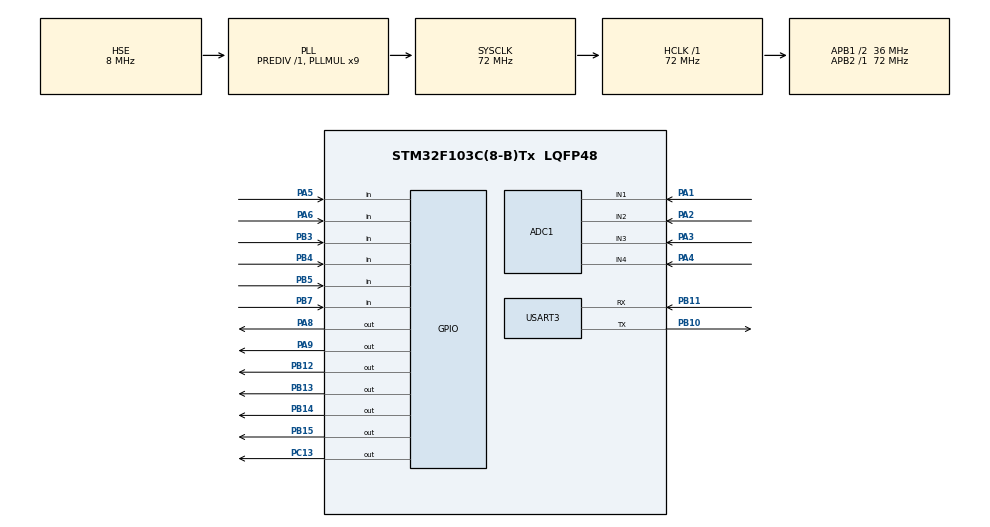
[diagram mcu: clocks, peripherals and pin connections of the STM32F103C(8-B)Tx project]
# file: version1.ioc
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ADC1.Channel-0\#ChannelRegularConversion=ADC_CHANNEL_1
ADC1.Channel-1\#ChannelRegularConversion=ADC_CHANNEL_2
ADC1.Channel-2\#ChannelRegularConversion=ADC_CHANNEL_3
ADC1.Channel-3\#ChannelRegularConversion=ADC_CHANNEL_4
ADC1.ContinuousConvMode=ENABLE
ADC1.NbrOfConversion=4
ADC1.NbrOfConversionFlag=1
ADC1.Rank-0\#ChannelRegularConversion=1
ADC1.Rank-1\#ChannelRegularConversion=2
ADC1.Rank-2\#ChannelRegularConversion=3
ADC1.Rank-3\#ChannelRegularConversion=4
ADC1.SamplingTime-0\#ChannelRegularConversion=ADC_SAMPLETIME_71CYCLES_5
ADC1.SamplingTime-1\#ChannelRegularConversion=ADC_SAMPLETIME_71CYCLES_5
ADC1.SamplingTime-2\#ChannelRegularConversion=ADC_SAMPLETIME_71CYCLES_5
ADC1.SamplingTime-3\#ChannelRegularConversion=ADC_SAMPLETIME_71CYCLES_5
ADC1.master=1
Dma.ADC1.0.Direction=DMA_PERIPH_TO_MEMORY
Dma.ADC1.0.Instance=DMA1_Channel1
Dma.ADC1.0.MemDataAlignment=DMA_MDATAALIGN_WORD
Dma.ADC1.0.MemInc=DMA_MINC_ENABLE
Dma.ADC1.0.Mode=DMA_CIRCULAR
Dma.ADC1.0.PeriphDataAlignment=DMA_PDATAALIGN_WORD
Dma.ADC1.0.PeriphInc=DMA_PINC_DISABLE
Dma.ADC1.0.Priority=DMA_PRIORITY_LOW
Dma.Request0=ADC1
Mcu.Family=STM32F1
Mcu.Name=STM32F103C(8-B)Tx
Mcu.Package=LQFP48
NVIC.DMA1_Channel1_IRQn=true\:0\:0\:false\:false\:true\:false\:true\:true
NVIC.PriorityGroup=NVIC_PRIORITYGROUP_4
PA1.Signal=ADCx_IN1
PA13.Mode=Serial_Wire
PA13.Signal=SYS_JTMS-SWDIO
PA14.Mode=Serial_Wire
PA14.Signal=SYS_JTCK-SWCLK
PA2.Signal=ADCx_IN2
PA3.Signal=ADCx_IN3
PA4.Signal=ADCx_IN4
PA5.GPIO_PuPd=GPIO_PULLUP
PA5.Signal=GPIO_Input
PA6.GPIO_PuPd=GPIO_PULLUP
PA6.Signal=GPIO_Input
PA8.Signal=GPIO_Output
PA9.Signal=GPIO_Output
PB10.Mode=Asynchronous
PB10.Signal=USART3_TX
PB11.Mode=Asynchronous
PB11.Signal=USART3_RX
PB12.Signal=GPIO_Output
PB13.Signal=GPIO_Output
PB14.Signal=GPIO_Output
PB15.Signal=GPIO_Output
PB3.Signal=GPIO_Input
PB4.GPIO_PuPd=GPIO_PULLUP
PB4.Signal=GPIO_Input
PB5.GPIO_PuPd=GPIO_PULLUP
PB5.Signal=GPIO_Input
PB7.Signal=GPIO_Input
PC13-TAMPER-RTC.Signal=GPIO_Output
PD0-OSC_IN.Mode=HSE-External-Oscillator
PD0-OSC_IN.Signal=RCC_OSC_IN
PD1-OSC_OUT.Mode=HSE-External-Oscillator
PD1-OSC_OUT.Signal=RCC_OSC_OUT
ProjectManager.HeapSize=0x200
ProjectManager.StackSize=0x400
ProjectManager.TargetToolchain=MDK-ARM V5.32
RCC.ADCPresc=RCC_ADCPCLK2_DIV6
RCC.AHBFreq_Value=72000000
RCC.APB1CLKDivider=RCC_HCLK_DIV2
RCC.APB1Freq_Value=36000000
RCC.APB1TimFreq_Value=72000000
RCC.APB2Freq_Value=72000000
RCC.APB2TimFreq_Value=72000000
RCC.HCLKFreq_Value=72000000
RCC.PLLMUL=RCC_PLL_MUL9
RCC.PLLSourceVirtual=RCC_PLLSOURCE_HSE
RCC.SYSCLKFreq_VALUE=72000000
RCC.SYSCLKSource=RCC_SYSCLKSOURCE_PLLCLK
RCC.USBFreq_Value=72000000
SH.ADCx_IN1.0=ADC1_IN1,IN1
SH.ADCx_IN2.0=ADC1_IN2,IN2
SH.ADCx_IN3.0=ADC1_IN3,IN3
SH.ADCx_IN4.0=ADC1_IN4,IN4
USART3.VirtualMode=VM_ASYNC
board=custom

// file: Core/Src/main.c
/* USER CODE BEGIN Header */
/**
  ******************************************************************************
  * @file           : main.c
  * @brief          : Main program body
  ******************************************************************************
  * @attention
  *
  * Copyright (c) 2025 STMicroelectronics.
  * All rights reserved.
  *
  * This software is licensed under terms that can be found in the LICENSE file
  * in the root directory of this software component.
  * If no LICENSE file comes with this software, it is provided AS-IS.
  *
  ******************************************************************************
  */
/* USER CODE END Header */
#include "main.h"

/* USER CODE BEGIN Includes */
#include "math.h"
#include "kalman.h"
#include "stdarg.h"
#include "stdio.h"
#include "string.h"
#include <stdlib.h>
/* USER CODE END Includes */

ADC_HandleTypeDef hadc1;
DMA_HandleTypeDef hdma_adc1;

UART_HandleTypeDef huart3;

void SystemClock_Config(void);
static void MX_GPIO_Init(void);
static void MX_DMA_Init(void);
static void MX_ADC1_Init(void);
static void MX_USART3_UART_Init(void);

/* USER CODE BEGIN 0 */

static uint32_t j1, j2, val[4], val_kalman[2];
int8_t btn1, btn2;
static int32_t joystick_angle1, joystick_angle2,x1, x_kalman, y1, y_kalman, x2, y2, angle_kalman;
double M_PI = 3.14159265358979323846;

#define JOYSTICK_CENTER_X 50  // Điều chỉnh theo giá trị thực tế
#define JOYSTICK_CENTER_Y 50  // Điều chỉnh theo giá trị thực tế

char buff[40];
uint8_t count=0, count1=0, count2=0, count3=0;
uint8_t cal, cal_1, cal_2;
void HAL_PRINTF(const char* format, ...)
{
    va_list args;
    va_start(args, format);
    memset(buff, 0, sizeof(buff)); // Xóa buffer
    vsnprintf(buff, sizeof(buff), format, args);
    va_end(args);
    HAL_UART_Transmit(&huart3, (uint8_t*)buff, strlen(buff), 1000);
}

uint32_t MAP(uint32_t au32_IN, uint32_t au32_INmin, uint32_t au32_INmax, uint32_t au32_OUTmin, uint32_t au32_OUTmax)
{
	return ((((au32_IN - au32_INmin) * (au32_OUTmax - au32_OUTmin)) / (au32_INmax - au32_INmin)) + au32_OUTmin);
}

int32_t joy_center_x = 0, joy_center_y = 0;

int32_t calculate_joystick_angle(int32_t x, int32_t y) {
    int32_t dx = x - 50;
    int32_t dy = y - 50;

    if ((abs(dx)) < 12 && abs(dy) < 12) {
        return -1;
    }

    double angle_rad = atan2(dy, dx);
    int32_t angle_deg = (int32_t)(angle_rad * 180.0 / M_PI);
    if (angle_deg < 0) {
        angle_deg += 360;
    }
    return angle_deg;
}

void read_joy(){
    HAL_ADC_Start_DMA(&hadc1, val, 4);
    val_kalman[0]=updateEstimate(val[0]);
    val_kalman[1]=updateEstimate(val[1]);
    x1 = MAP(val[0], 0, 4096, 0, 100);
    y1= MAP(val[1], 0, 4096, 0, 100);
		x2 = MAP(val[2], 0, 4096, 0, 100);
    y2= MAP(val[3], 0, 4096, 0, 100);

    joystick_angle1 = calculate_joystick_angle(x1,y1);
    joystick_angle2 = calculate_joystick_angle(x2,y2);
}

void read_button(){
	if(HAL_GPIO_ReadPin(GPIOA, GPIO_PIN_5)==0){
		HAL_Delay(5);
		while(HAL_GPIO_ReadPin(GPIOA, GPIO_PIN_5)==0);
		count++;
		if(count%2 != 0){
			HAL_PRINTF("Z"); // Bat xi nhan trai
			HAL_PRINTF("P"); // Tat xi nhan phai
		}
		else{
			HAL_PRINTF("X"); // Tat xi nhan trai
		}
	}
	if(HAL_GPIO_ReadPin(GPIOA, GPIO_PIN_6)==0){
		HAL_Delay(5);
		while(HAL_GPIO_ReadPin(GPIOA, GPIO_PIN_6)==0);
		count1++;
		if(count1%2 != 0){
			HAL_PRINTF("O"); // Bat xi nhan phai
			HAL_PRINTF("X"); // Tat xi nhan trai
		}
		else{
			HAL_PRINTF("P"); // Tat xi nhan phai
		}
	}
}

void control_led_horn(){
	if(HAL_GPIO_ReadPin(GPIOB, GPIO_PIN_4) == 0){
		HAL_Delay(10);
		while(HAL_GPIO_ReadPin(GPIOB, GPIO_PIN_4) == 0);
		count2++;
		if(count2 %2 != 0){
			HAL_PRINTF("M"); // Bat den
		}else{
			HAL_PRINTF("N");	// Tat den
		}
	}else
	if(HAL_GPIO_ReadPin(GPIOB, GPIO_PIN_5) == 0){
		HAL_Delay(10);
		while(HAL_GPIO_ReadPin(GPIOB, GPIO_PIN_5) == 0);
		count3++;
		if(count3 %2 != 0){
			HAL_PRINTF("1"); // Bat coi
		}else{
			HAL_PRINTF("2");	// Tat coi
		}
	}
}

void control_bluetooth() {
    #define DEADZONE 7

    int32_t distance1 = sqrt((x1 - 50) * (x1 - 50) + (y1 - 50) * (y1 - 50));
    int32_t distance2 = sqrt((x2 - 50) * (x2 - 50) + (y2 - 50) * (y2 - 50));

    if ((distance1 < DEADZONE || joystick_angle1 == -1) &&
        (distance2 < DEADZONE || joystick_angle2 == -1)) {
        HAL_PRINTF("S");
        return;
    }
    if (distance1 >= DEADZONE) {
        if (joystick_angle1 < 92 || joystick_angle1 > 268) {
            if (distance2 < DEADZONE || joystick_angle2 == -1) {
                HAL_PRINTF("F"); // Tien thang
            }
            // Ket hop 2 joy
            else if (joystick_angle2 < 180) {
                HAL_PRINTF("I"); // Tien phai
            }
            else {
                HAL_PRINTF("G"); // Tien trai
            }
        }
        // Lui
        else if (joystick_angle1 >= 92 && joystick_angle1 <= 268) {
            if (distance2 < DEADZONE || joystick_angle2 == -1) {
                HAL_PRINTF("B");
            }
            else if (joystick_angle2 < 180) {
                HAL_PRINTF("J"); // Lui phai
            }
            else {
                HAL_PRINTF("H"); // Lui trai
            }
        }
    }
    // Xoay tai cho
    else if (distance2 >= DEADZONE) {
        if (joystick_angle2 < 180) {
            HAL_PRINTF("R"); // Re phai
        } else {
            HAL_PRINTF("L"); // Robben
        }
    }

    HAL_Delay(5);
}

/* USER CODE END 0 */

int main(void)
{

  /* MCU Configuration--------------------------------------------------------*/

  /* Reset of all peripherals, Initializes the Flash interface and the Systick. */
  HAL_Init();

  /* Configure the system clock */
  SystemClock_Config();

  /* Initialize all configured peripherals */
  MX_GPIO_Init();
  MX_DMA_Init();
  MX_ADC1_Init();
  MX_USART3_UART_Init();
  /* USER CODE BEGIN 2 */
//	HAL_TIM_PWM_Start(&htim1, TIM_CHANNEL_1);
  /* USER CODE END 2 */

  /* Infinite loop */
  while (1)
  {

    /* USER CODE BEGIN 3 */
		read_joy();
		read_button();
		control_led_horn();
		control_bluetooth();
		HAL_Delay(100);
//		send_servo(joystick_angle1);
  }
  /* USER CODE END 3 */
}

void SystemClock_Config(void)
{
  RCC_OscInitTypeDef RCC_OscInitStruct = {0};
  RCC_ClkInitTypeDef RCC_ClkInitStruct = {0};
  RCC_PeriphCLKInitTypeDef PeriphClkInit = {0};

  /** Initializes the RCC Oscillators according to the specified parameters
  * in the RCC_OscInitTypeDef structure.
  */
  RCC_OscInitStruct.OscillatorType = RCC_OSCILLATORTYPE_HSE;
  RCC_OscInitStruct.HSEState = RCC_HSE_ON;
  RCC_OscInitStruct.HSEPredivValue = RCC_HSE_PREDIV_DIV1;
  RCC_OscInitStruct.HSIState = RCC_HSI_ON;
  RCC_OscInitStruct.PLL.PLLState = RCC_PLL_ON;
  RCC_OscInitStruct.PLL.PLLSource = RCC_PLLSOURCE_HSE;
  RCC_OscInitStruct.PLL.PLLMUL = RCC_PLL_MUL9;
  if (HAL_RCC_OscConfig(&RCC_OscInitStruct) != HAL_OK)
  {
    Error_Handler();
  }

  /** Initializes the CPU, AHB and APB buses clocks
  */
  RCC_ClkInitStruct.ClockType = RCC_CLOCKTYPE_HCLK|RCC_CLOCKTYPE_SYSCLK
                              |RCC_CLOCKTYPE_PCLK1|RCC_CLOCKTYPE_PCLK2;
  RCC_ClkInitStruct.SYSCLKSource = RCC_SYSCLKSOURCE_PLLCLK;
  RCC_ClkInitStruct.AHBCLKDivider = RCC_SYSCLK_DIV1;
  RCC_ClkInitStruct.APB1CLKDivider = RCC_HCLK_DIV2;
  RCC_ClkInitStruct.APB2CLKDivider = RCC_HCLK_DIV1;

  if (HAL_RCC_ClockConfig(&RCC_ClkInitStruct, FLASH_LATENCY_2) != HAL_OK)
  {
    Error_Handler();
  }
  PeriphClkInit.PeriphClockSelection = RCC_PERIPHCLK_ADC;
  PeriphClkInit.AdcClockSelection = RCC_ADCPCLK2_DIV6;
  if (HAL_RCCEx_PeriphCLKConfig(&PeriphClkInit) != HAL_OK)
  {
    Error_Handler();
  }
}

static void MX_ADC1_Init(void)
{

  ADC_ChannelConfTypeDef sConfig = {0};

  /** Common config
  */
  hadc1.Instance = ADC1;
  hadc1.Init.ScanConvMode = ADC_SCAN_ENABLE;
  hadc1.Init.ContinuousConvMode = ENABLE;
  hadc1.Init.DiscontinuousConvMode = DISABLE;
  hadc1.Init.ExternalTrigConv = ADC_SOFTWARE_START;
  hadc1.Init.DataAlign = ADC_DATAALIGN_RIGHT;
  hadc1.Init.NbrOfConversion = 4;
  if (HAL_ADC_Init(&hadc1) != HAL_OK)
  {
    Error_Handler();
  }

  /** Configure Regular Channel
  */
  sConfig.Channel = ADC_CHANNEL_1;
  sConfig.Rank = ADC_REGULAR_RANK_1;
  sConfig.SamplingTime = ADC_SAMPLETIME_71CYCLES_5;
  if (HAL_ADC_ConfigChannel(&hadc1, &sConfig) != HAL_OK)
  {
    Error_Handler();
  }

  /** Configure Regular Channel
  */
  sConfig.Channel = ADC_CHANNEL_2;
  sConfig.Rank = ADC_REGULAR_RANK_2;
  if (HAL_ADC_ConfigChannel(&hadc1, &sConfig) != HAL_OK)
  {
    Error_Handler();
  }

  /** Configure Regular Channel
  */
  sConfig.Channel = ADC_CHANNEL_3;
  sConfig.Rank = ADC_REGULAR_RANK_3;
  if (HAL_ADC_ConfigChannel(&hadc1, &sConfig) != HAL_OK)
  {
    Error_Handler();
  }

  /** Configure Regular Channel
  */
  sConfig.Channel = ADC_CHANNEL_4;
  sConfig.Rank = ADC_REGULAR_RANK_4;
  if (HAL_ADC_ConfigChannel(&hadc1, &sConfig) != HAL_OK)
  {
    Error_Handler();
  }

}

static void MX_USART3_UART_Init(void)
{

  huart3.Instance = USART3;
  huart3.Init.BaudRate = 115200;
  huart3.Init.WordLength = UART_WORDLENGTH_8B;
  huart3.Init.StopBits = UART_STOPBITS_1;
  huart3.Init.Parity = UART_PARITY_NONE;
  huart3.Init.Mode = UART_MODE_TX_RX;
  huart3.Init.HwFlowCtl = UART_HWCONTROL_NONE;
  huart3.Init.OverSampling = UART_OVERSAMPLING_16;
  if (HAL_UART_Init(&huart3) != HAL_OK)
  {
    Error_Handler();
  }

}

static void MX_DMA_Init(void)
{

  /* DMA controller clock enable */
  __HAL_RCC_DMA1_CLK_ENABLE();

  /* DMA interrupt init */
  /* DMA1_Channel1_IRQn interrupt configuration */
  HAL_NVIC_SetPriority(DMA1_Channel1_IRQn, 0, 0);
  HAL_NVIC_EnableIRQ(DMA1_Channel1_IRQn);

}

static void MX_GPIO_Init(void)
{
  GPIO_InitTypeDef GPIO_InitStruct = {0};

  /* GPIO Ports Clock Enable */
  __HAL_RCC_GPIOC_CLK_ENABLE();
  __HAL_RCC_GPIOD_CLK_ENABLE();
  __HAL_RCC_GPIOA_CLK_ENABLE();
  __HAL_RCC_GPIOB_CLK_ENABLE();

  /*Configure GPIO pin Output Level */
  HAL_GPIO_WritePin(GPIOC, GPIO_PIN_13, GPIO_PIN_RESET);

  /*Configure GPIO pin Output Level */
  HAL_GPIO_WritePin(GPIOB, GPIO_PIN_12|GPIO_PIN_13|GPIO_PIN_14|GPIO_PIN_15, GPIO_PIN_RESET);

  /*Configure GPIO pin Output Level */
  HAL_GPIO_WritePin(GPIOA, GPIO_PIN_8|GPIO_PIN_9, GPIO_PIN_RESET);

  /*Configure GPIO pin : PC13 */
  GPIO_InitStruct.Pin = GPIO_PIN_13;
  GPIO_InitStruct.Mode = GPIO_MODE_OUTPUT_PP;
  GPIO_InitStruct.Pull = GPIO_NOPULL;
  GPIO_InitStruct.Speed = GPIO_SPEED_FREQ_LOW;
  HAL_GPIO_Init(GPIOC, &GPIO_InitStruct);

  /*Configure GPIO pins : PA5 PA6 */
  GPIO_InitStruct.Pin = GPIO_PIN_5|GPIO_PIN_6;
  GPIO_InitStruct.Mode = GPIO_MODE_INPUT;
  GPIO_InitStruct.Pull = GPIO_PULLUP;
  HAL_GPIO_Init(GPIOA, &GPIO_InitStruct);

  /*Configure GPIO pins : PB12 PB13 PB14 PB15 */
  GPIO_InitStruct.Pin = GPIO_PIN_12|GPIO_PIN_13|GPIO_PIN_14|GPIO_PIN_15;
  GPIO_InitStruct.Mode = GPIO_MODE_OUTPUT_PP;
  GPIO_InitStruct.Pull = GPIO_NOPULL;
  GPIO_InitStruct.Speed = GPIO_SPEED_FREQ_LOW;
  HAL_GPIO_Init(GPIOB, &GPIO_InitStruct);

  /*Configure GPIO pins : PA8 PA9 */
  GPIO_InitStruct.Pin = GPIO_PIN_8|GPIO_PIN_9;
  GPIO_InitStruct.Mode = GPIO_MODE_OUTPUT_PP;
  GPIO_InitStruct.Pull = GPIO_NOPULL;
  GPIO_InitStruct.Speed = GPIO_SPEED_FREQ_LOW;
  HAL_GPIO_Init(GPIOA, &GPIO_InitStruct);

  /*Configure GPIO pins : PB3 PB7 */
  GPIO_InitStruct.Pin = GPIO_PIN_3|GPIO_PIN_7;
  GPIO_InitStruct.Mode = GPIO_MODE_INPUT;
  GPIO_InitStruct.Pull = GPIO_NOPULL;
  HAL_GPIO_Init(GPIOB, &GPIO_InitStruct);

  /*Configure GPIO pins : PB4 PB5 */
  GPIO_InitStruct.Pin = GPIO_PIN_4|GPIO_PIN_5;
  GPIO_InitStruct.Mode = GPIO_MODE_INPUT;
  GPIO_InitStruct.Pull = GPIO_PULLUP;
  HAL_GPIO_Init(GPIOB, &GPIO_InitStruct);

}

void Error_Handler(void)
{
  __disable_irq();
  while (1)
  {
  }
}
